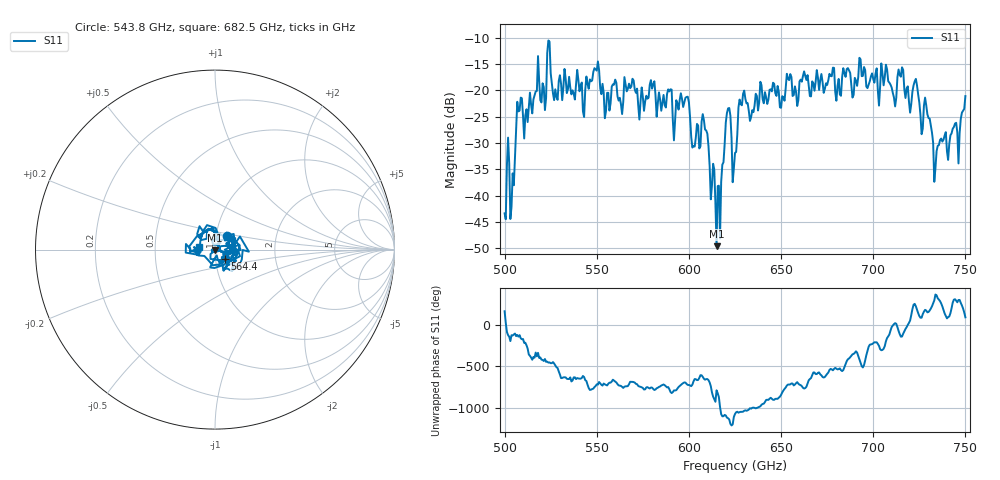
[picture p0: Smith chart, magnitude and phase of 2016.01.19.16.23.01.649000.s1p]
!Created with skrf (http://scikit-rf.org).
# GHz S RI R 50.0
!freq ReS11 ImS11
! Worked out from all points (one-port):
!   401 points, 500 GHz to 750 GHz, reference 50 ohm
!   lowest |S11| = -49.6 dB at 615 GHz (marker M1), VSWR 1.01, Z = 50.1 - j0.317 ohm
!   |S11| at or under -10 dB: start of sweep to end of sweep
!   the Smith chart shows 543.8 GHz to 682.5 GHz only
!   S11 on the Smith chart (normalised r, x): 543.8 GHz: 1.12, +0.18; 564.4 GHz: 1.11, -0.12; 682.5 GHz: 0.84, +0.03
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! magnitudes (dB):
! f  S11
! 500 GHz  -43.4
! 504.4 GHz  -35.8
! 508.1 GHz  -23.8
! 521.2 GHz  -19.4
! 524.4 GHz  -10.7
! 527.5 GHz  -19.8
! 531.2 GHz  -21.8
! 543.8 GHz  -19.9
! 550 GHz  -16.2
! 562.5 GHz  -21.4
! 564.4 GHz  -22.2
! 593.8 GHz  -22.4
! 598.8 GHz  -21.2
! 602.5 GHz  -30.5
! 608.8 GHz  -27.4
! 615 GHz  -49.6
! 616.2 GHz  -38.1
! 621.2 GHz  -23.4
! 625 GHz  -31.9
! 628.8 GHz  -22.8
! 656.2 GHz  -21.0
! 682.5 GHz  -21.0
! 687.5 GHz  -16.7
! 715 GHz  -17.4
! 718.8 GHz  -19.2
! 723.1 GHz  -17.8
! 734.4 GHz  -31.5
! 750 GHz  -21.1
